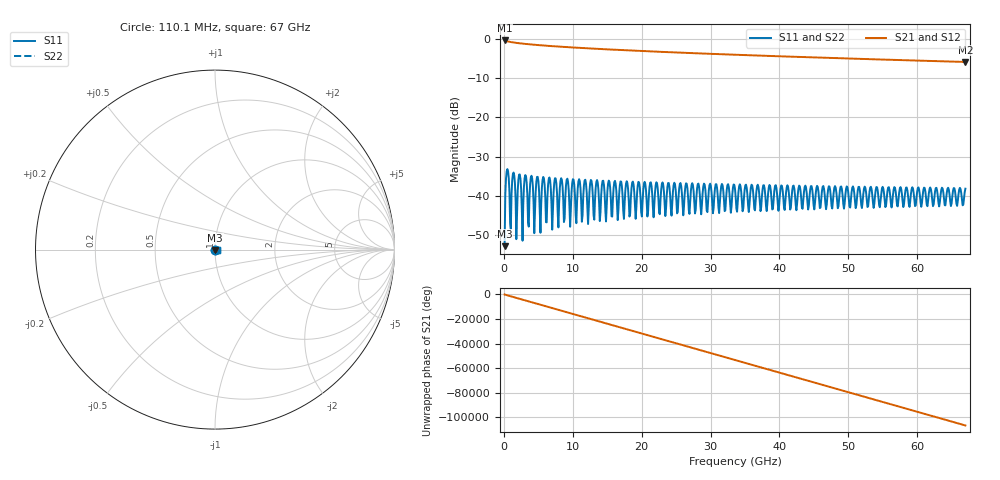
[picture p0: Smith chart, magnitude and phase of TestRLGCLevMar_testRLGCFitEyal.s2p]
! File created by SignalIntegrity v1.1.13: Signal and Power Integrity Tools
! https://github.com/TeledyneLeCroy/SignalIntegrity
# MHz S MA R 50.0
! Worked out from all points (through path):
!   669 points, 110.1 MHz to 67 GHz, reference 50 ohm
!   highest |S21| = -0.41 dB at 110.1 MHz (marker M1); lowest = -5.9 dB at 67 GHz (marker M2)
!   lowest |S11| = -52.8 dB at 110.1 MHz (marker M3), VSWR 1.00, Z = 50.1 - j0.221 ohm
!   |S11| at or under -10 dB: start of sweep to end of sweep
!   |S22| runs from -52.8 to -33.2 dB; largest |S21 - S12| = 0
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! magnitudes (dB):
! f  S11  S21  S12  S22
! 110.1 MHz  -52.8  -0.4  -0.4  -52.8
! 510.7 MHz  -33.2  -0.6  -0.6  -33.2
! 911.2 MHz  -46.9  -0.8  -0.8  -46.9
! 1.412 GHz  -34.1  -0.9  -0.9  -34.1
! 1.812 GHz  -51.0  -1.0  -1.0  -51.0
! 2.313 GHz  -34.5  -1.1  -1.1  -34.5
! 2.714 GHz  -51.4  -1.2  -1.2  -51.4
! 3.114 GHz  -34.7  -1.3  -1.3  -34.7
! 3.515 GHz  -46.7  -1.4  -1.4  -46.7
! 4.015 GHz  -34.9  -1.4  -1.4  -34.9
! 4.416 GHz  -49.5  -1.5  -1.5  -49.5
! 5.718 GHz  -35.2  -1.7  -1.7  -35.2
! 6.118 GHz  -46.7  -1.7  -1.7  -46.7
! 6.619 GHz  -35.3  -1.8  -1.8  -35.3
! 7.019 GHz  -48.6  -1.9  -1.9  -48.6
! 8.321 GHz  -35.5  -2.0  -2.0  -35.5
! 11.33 GHz  -46.6  -2.3  -2.3  -46.6
! 22.44 GHz  -40.7  -3.3  -3.3  -40.7
! 33.56 GHz  -38.3  -4.0  -4.0  -38.3
! 44.77 GHz  -38.4  -4.7  -4.7  -38.4
! 55.89 GHz  -37.8  -5.3  -5.3  -37.8
! 67 GHz  -38.2  -5.9  -5.9  -38.2
